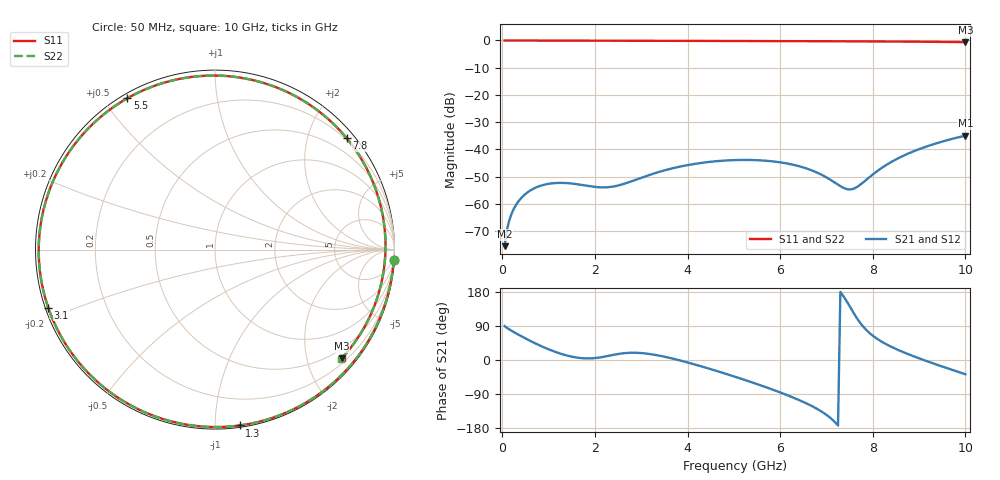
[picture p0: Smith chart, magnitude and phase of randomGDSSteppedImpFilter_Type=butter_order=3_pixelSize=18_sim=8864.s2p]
! freq	dB(S11)	phase(S11)	dB(S12)	phase(S12)
!  dB(S21)	phase(S21)	dB(S22)	phase(S22)
!S-par simulation data
#  GHz  S  DB  R 50
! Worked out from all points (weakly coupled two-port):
!   200 points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, 50 MHz to 10 GHz, reference 50 ohm
!   highest |S21| = -34.95 dB at 10 GHz (marker M1); lowest = -75.5 dB at 50 MHz (marker M2)
!   lowest |S11| = -0.6 dB at 10 GHz (marker M3), VSWR 27.62, Z = 14.9 - j133 ohm
!   |S11| at or under -10 dB: nowhere
!   |S22| runs from -0.6 to 0.0 dB; largest |S21 - S12| = 0
!   S11 on the Smith chart (normalised r, x): 50 MHz: 1, -35; 1.3 GHz: 0.01, -1.15; 3.1 GHz: 0.01, -0.17; 5.5 GHz: 0.02, +0.58; 7.8 GHz: 0.17, +2.72; 10 GHz: 0.30, -2.67
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0.05  -0.01 -3.3  -75.52 89.6  -75.52 89.6  -0.01 -3.3
0.1  -0.02 -6.7  -69.54 84.7  -69.54 84.7  -0.02 -6.7
0.15  -0.03 -10.1  -66.07 80.8  -66.07 80.8  -0.03 -10.1
0.25  -0.04 -16.9  -61.76 73.6  -61.76 73.6  -0.04 -16.9
0.4  -0.04 -27.0  -58.00 63.4  -58.00 63.4  -0.04 -27.0
0.85  -0.07 -55.9  -53.22 36.1  -53.22 36.1  -0.07 -55.9
1.3  -0.09 -82.0  -52.29 15.1  -52.29 15.1  -0.09 -82.0
1.75  -0.11 -105.1  -53.13 4.5  -53.13 4.5  -0.11 -105.1
2.35  -0.12 -132.0  -53.76 12.4  -53.76 12.4  -0.12 -132.0
3.1  -0.14 -160.8  -49.82 17.1  -49.82 17.1  -0.14 -160.8
3.4  -0.15 -171.4  -48.19 11.2  -48.19 11.2  -0.15 -171.4
4.2  -0.17 161.9  -45.19 -13.3  -45.19 -13.3  -0.17 161.9
5.05  -0.21 134.6  -43.90 -45.1  -43.90 -45.1  -0.21 134.6
5.5  -0.23 120.1  -43.96 -63.5  -43.96 -63.5  -0.23 120.1
6.1  -0.25 100.2  -45.02 -90.2  -45.02 -90.2  -0.25 100.2
6.7  -0.28 79.7  -47.81 -122.5  -47.81 -122.5  -0.28 79.7
7.45  -0.32 53.1  -54.61 152.5  -54.61 152.5  -0.32 53.0
7.6  -0.33 47.6  -54.34 121.4  -54.34 121.4  -0.33 47.6
7.8  -0.35 40.3  -52.01 87.2  -52.01 87.2  -0.35 40.3
8.35  -0.39 19.9  -45.10 37.9  -45.10 37.9  -0.39 19.9
9.15  -0.48 -9.7  -39.00 -2.3  -39.00 -2.3  -0.48 -9.8
10  -0.63 -40.7  -34.95 -37.6  -34.95 -37.6  -0.63 -40.8
